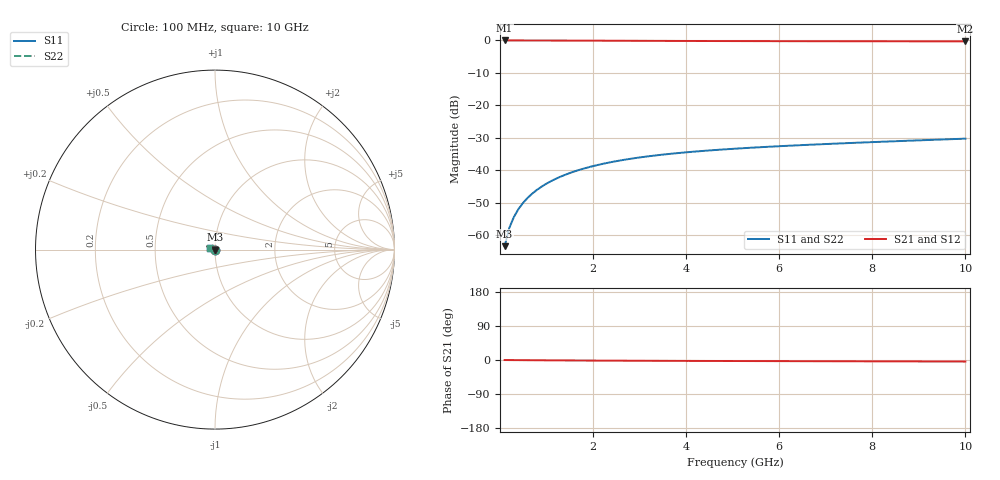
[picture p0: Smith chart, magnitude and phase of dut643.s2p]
! Touchstone file exported from HFSS 2024.1.0
!  File:  C:/UserFiles/LocalFiles/RDL_TSV_Batchsim/temp_TSV1_643_1779791453.aedt
!  Generated:  06:36:29 PM May 26, 2026
!  Design:  TSV1
!  Project:  temp_TSV1_643_1779791453
!  Setup:  Setup1
!  Solution:  Sweep
! Variables:
!  dtsv = 7.07um
!  hbump = 3um
!  htsv = 59.97um
!  lrdl = 252.1521522um
!  p = 40
!  p1 = 47.27um
!  t = 500um
!  trdl = 3um
!  wrdl = 24.89489489um
# GHz S MA R 50.000000
! Terminal data exported
! Port[1] = TSV22_T1
! Port[2] = TSV22_T2
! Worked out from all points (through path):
!   100 points, 100 MHz to 10 GHz, reference 50 ohm
!   highest |S21| = 0.00 dB at 100 MHz (marker M1); lowest = -0.3 dB at 10 GHz (marker M2)
!   lowest |S11| = -63.3 dB at 100 MHz (marker M3), VSWR 1.00, Z = 50 - j0.0647 ohm
!   |S11| at or under -10 dB: start of sweep to end of sweep
!   |S22| runs from -63.3 to -30.2 dB; largest |S21 - S12| = 9.1e-15
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0.1  0.0006831 -71.2  0.9997 -0.1  0.9997 -0.1  0.0006831 -71.2
! Gamma 0 0 0 0
! Port Impedance 50 0 50 0
0.2  0.001299 -83.4  0.9997 -0.2  0.9997 -0.2  0.001299 -83.4
0.3  0.001928 -89.0  0.9995 -0.3  0.9995 -0.3  0.001928 -89.0
0.4  0.002559 -92.8  0.9994 -0.3  0.9994 -0.3  0.002559 -92.8
0.5  0.00319 -95.9  0.9991 -0.4  0.9991 -0.4  0.00319 -95.9
0.6  0.003817 -98.6  0.9989 -0.5  0.9989 -0.5  0.003817 -98.6
0.7  0.004439 -101.1  0.9986 -0.6  0.9986 -0.6  0.004439 -101.1
0.8  0.005055 -103.4  0.9982 -0.7  0.9982 -0.7  0.005055 -103.4
0.9  0.005664 -105.6  0.9979 -0.7  0.9979 -0.7  0.005664 -105.6
1.1  0.006855 -109.8  0.9971 -0.9  0.9971 -0.9  0.006855 -109.8
1.4  0.008564 -115.7  0.9956 -1.1  0.9956 -1.1  0.008564 -115.7
1.6  0.009645 -119.4  0.9946 -1.2  0.9946 -1.2  0.009645 -119.4
1.8  0.01068 -123.0  0.9935 -1.4  0.9935 -1.4  0.01068 -123.0
2.1  0.01213 -128.1  0.9918 -1.6  0.9918 -1.6  0.01213 -128.1
2.5  0.01389 -134.5  0.9895 -1.8  0.9895 -1.8  0.01389 -134.5
2.9  0.01546 -140.5  0.9873 -1.9  0.9873 -1.9  0.01546 -140.5
3.4  0.01719 -147.3  0.9847 -2.2  0.9847 -2.2  0.01719 -147.3
4.2  0.01953 -157.0  0.981 -2.4  0.981 -2.4  0.01953 -157.0
5.1  0.02171 -166.4  0.9777 -2.7  0.9777 -2.7  0.02171 -166.4
6.7  0.02492 179.8  0.9734 -3.2  0.9734 -3.2  0.02492 179.8
8.4  0.02797 168.3  0.9703 -3.6  0.9703 -3.6  0.02797 168.3
10  0.03082 159.4  0.9683 -4.1  0.9683 -4.1  0.03082 159.4
